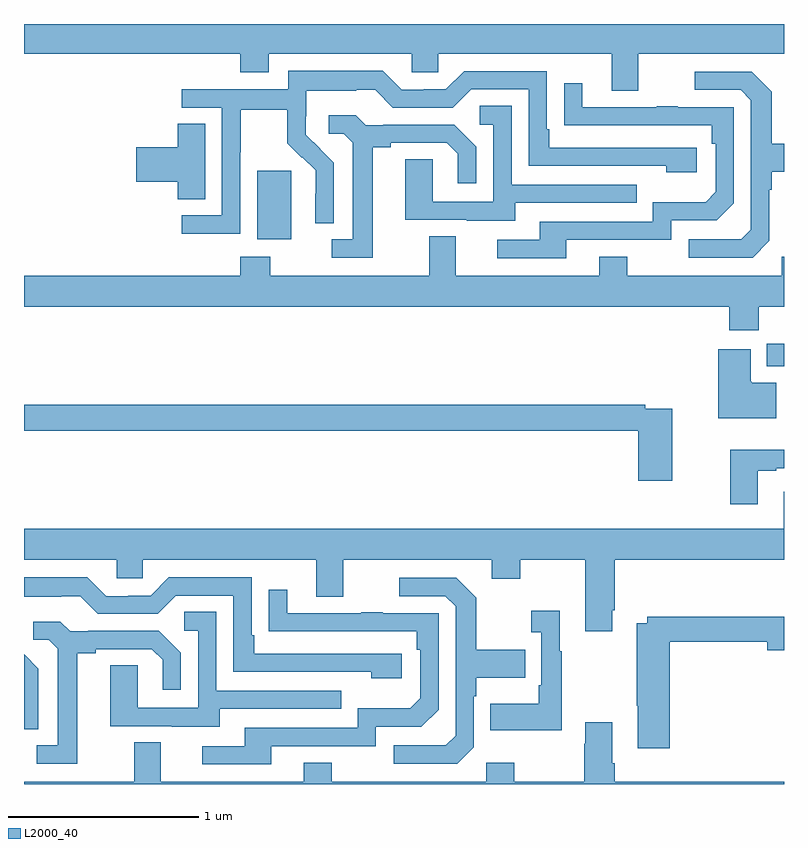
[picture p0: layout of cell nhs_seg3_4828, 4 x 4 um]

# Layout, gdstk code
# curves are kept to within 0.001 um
import gdstk
lib = gdstk.Library(unit=1e-6, precision=1e-09)
def R(c, l, rs):  # rectangles x0, y0, x1, y1
    for r in rs: c.add(gdstk.rectangle(r[:2], r[2:], *l))
def P(c, l, *ps):  # polygons
    for p in ps: c.add(gdstk.Polygon(p, *l))
L2000_40 = (2000, 40)

nhs_seg3_4828 = lib.new_cell('nhs_seg3_4828')
R(nhs_seg3_4828, L2000_40, [(374.909,704.6,375,704.718), (372.227,705.266,372.406,705.627)])
P(nhs_seg3_4828, L2000_40, [(371,706.244),(372.137,706.244),(372.137,706.145),(372.289,706.145),(372.289,706.244),(373.041,706.244),(373.041,706.146),(373.179,706.146),(373.179,706.244),(374.093,706.244),(374.093,706.05),(374.233,706.05),(374.233,706.244),(375,706.244),(375,706.4),(371,706.4)],
  [(372.138,705.724),(372.141,705.724),(372.141,705.948),(372.385,705.948),(372.385,705.773),(372.462,705.696),(372.465,705.699),(372.536,705.629),(372.536,705.506),(372.534,705.506),(372.534,705.352),(372.63,705.352),(372.63,705.67),(372.484,705.818),(372.484,705.915),(372.486,705.915),(372.486,706.049),(372.749,706.049),(372.749,706.053),(372.849,706.053),(372.942,705.96),(373.257,705.96),(373.353,706.056),(373.656,706.056),(373.656,705.654),(374.381,705.654),(374.381,705.62),(374.542,705.62),(374.542,705.75),(373.765,705.75),(373.765,705.847),(373.752,705.847),(373.752,706.152),(373.317,706.152),(373.221,706.056),(373.103,706.056),(373.103,706.053),(372.987,706.053),(372.887,706.153),(372.39,706.153),(372.39,706.056),(371.829,706.056),(371.829,705.96),(372.042,705.96),(372.042,705.393),(371.829,705.393),(371.829,705.295),(372.138,705.295)],
  [(374.922,705.258),(374.922,705.527),(374.935,705.527),(374.935,705.623),(375,705.623),(375,705.771),(374.935,705.771),(374.935,706.043),(374.829,706.149),(374.529,706.149),(374.529,706.053),(374.772,706.053),(374.826,705.999),(374.826,705.318),(374.775,705.267),(374.499,705.267),(374.499,705.171),(374.835,705.171)],
  [(373.855,705.264),(374.406,705.264),(374.406,705.366),(374.646,705.366),(374.736,705.456),(374.736,705.963),(374.441,705.963),(374.441,705.968),(374.329,705.968),(374.329,705.963),(373.939,705.963),(373.939,706.087),(373.843,706.087),(373.843,705.868),(374.62,705.867),(374.62,705.77),(374.64,705.77),(374.64,705.516),(374.587,705.463),(374.31,705.463),(374.31,705.36),(373.715,705.36),(373.715,705.264),(373.491,705.264),(373.491,705.168),(373.855,705.168)],
  [(373.585,705.459),(374.225,705.459),(374.225,705.555),(373.566,705.555),(373.566,705.971),(373.398,705.971),(373.398,705.87),(373.47,705.87),(373.47,705.465),(373.152,705.465),(373.152,705.689),(373.007,705.689),(373.007,705.369),(373.331,705.369),(373.331,705.365),(373.585,705.365)],
  [(372.835,705.752),(372.931,705.752),(372.931,705.774),(373.226,705.774),(373.283,705.717),(373.283,705.561),(373.38,705.561),(373.38,705.754),(373.264,705.87),(372.892,705.87),(372.892,705.867),(372.798,705.867),(372.746,705.919),(372.603,705.919),(372.603,705.822),(372.684,705.822),(372.731,705.775),(372.731,705.267),(372.621,705.267),(372.621,705.171),(372.835,705.171)],
  [(371.953,705.875),(371.81,705.875),(371.81,705.752),(371.592,705.752),(371.592,705.569),(371.81,705.569),(371.81,705.478),(371.953,705.478)],
  [(374.867,704.912),(375,704.912),(375,705.175),(374.988,705.175),(374.988,705.076),(374.175,705.076),(374.175,705.175),(374.027,705.175),(374.027,705.076),(373.273,705.076),(373.273,705.284),(373.133,705.284),(373.133,705.076),(372.297,705.076),(372.297,705.175),(372.137,705.175),(372.137,705.076),(371,705.076),(371,704.912),(374.711,704.912),(374.711,704.788),(374.867,704.788)],
  [(374.959,704.512),(374.83,704.512),(374.83,704.518),(374.824,704.518),(374.824,704.689),(374.654,704.689),(374.654,704.324),(374.959,704.324)],
  [(374.412,704.376),(374.27,704.376),(374.27,704.396),(371,704.396),(371,704.26),(374.234,704.26),(374.234,703.995),(374.412,703.995)],
  [(374.863,704.049),(374.959,704.049),(374.959,704.061),(375,704.061),(375,704.158),(374.716,704.158),(374.716,703.872),(374.863,703.872)],
  [(374.095,703.315),(374.108,703.315),(374.108,703.58),(375,703.58),(375,703.939),(374.999,703.939),(374.999,703.744),(371,703.744),(371,703.58),(371.487,703.58),(371.487,703.482),(371.625,703.482),(371.625,703.58),(372.539,703.58),(372.539,703.386),(372.679,703.386),(372.679,703.58),(373.463,703.58),(373.463,703.481),(373.611,703.481),(373.611,703.58),(373.955,703.58),(373.955,703.203),(374.095,703.203)],
  [(372.988,703.086),(372.211,703.086),(372.211,703.183),(372.198,703.183),(372.198,703.488),(371.763,703.488),(371.667,703.392),(371.549,703.392),(371.549,703.389),(371.433,703.389),(371.333,703.489),(371,703.489),(371,703.385),(371.195,703.385),(371.195,703.389),(371.295,703.389),(371.388,703.296),(371.703,703.296),(371.799,703.392),(372.102,703.392),(372.102,702.99),(372.827,702.99),(372.827,702.956),(372.988,702.956)],
  [(373.368,702.594),(373.368,702.863),(373.381,702.863),(373.381,702.959),(373.637,702.959),(373.637,703.107),(373.381,703.107),(373.381,703.379),(373.275,703.485),(372.975,703.485),(372.975,703.389),(373.218,703.389),(373.272,703.335),(373.272,702.654),(373.221,702.603),(372.945,702.603),(372.945,702.507),(373.281,702.507)],
  [(372.301,702.6),(372.852,702.6),(372.852,702.702),(373.092,702.702),(373.182,702.792),(373.182,703.299),(372.887,703.299),(372.887,703.304),(372.775,703.304),(372.775,703.299),(372.385,703.299),(372.385,703.423),(372.289,703.423),(372.289,703.204),(373.066,703.203),(373.066,703.106),(373.086,703.106),(373.086,702.852),(373.033,702.799),(372.756,702.799),(372.756,702.696),(372.161,702.696),(372.161,702.6),(371.937,702.6),(371.937,702.504),(372.301,702.504)],
  [(373.831,703.099),(373.819,703.099),(373.819,703.312),(373.671,703.312),(373.671,703.199),(373.722,703.199),(373.722,702.919),(373.71,702.919),(373.71,702.823),(373.453,702.823),(373.453,702.683),(373.831,702.683)],
  [(372.031,702.795),(372.671,702.795),(372.671,702.891),(372.012,702.891),(372.012,703.307),(371.844,703.307),(371.844,703.206),(371.916,703.206),(371.916,702.801),(371.598,702.801),(371.598,703.025),(371.453,703.025),(371.453,702.705),(371.777,702.705),(371.777,702.701),(372.031,702.701)],
  [(374.399,703.15),(374.912,703.15),(374.912,703.103),(375,703.103),(375,703.279),(374.28,703.279),(374.28,703.246),(374.224,703.246),(374.224,702.811),(374.231,702.811),(374.231,702.588),(374.399,702.588)],
  [(371.281,703.088),(371.377,703.088),(371.377,703.11),(371.672,703.11),(371.729,703.053),(371.729,702.897),(371.826,702.897),(371.826,703.09),(371.71,703.206),(371.338,703.206),(371.338,703.203),(371.244,703.203),(371.192,703.255),(371.049,703.255),(371.049,703.158),(371.13,703.158),(371.177,703.111),(371.177,702.603),(371.067,702.603),(371.067,702.507),(371.281,702.507)],
  [(371.076,703.006),(371.003,703.079),(371.004,703.08),(371,703.084),(371,702.688),(371.076,702.688)],
  [(375,702.412),(374.108,702.412),(374.108,702.508),(374.095,702.508),(374.095,702.724),(373.955,702.724),(373.955,702.611),(373.948,702.611),(373.948,702.412),(373.581,702.412),(373.581,702.511),(373.434,702.511),(373.434,702.412),(372.621,702.412),(372.621,702.511),(372.473,702.511),(372.473,702.412),(371.719,702.412),(371.719,702.62),(371.579,702.62),(371.579,702.412),(371,702.412),(371,702.4),(375,702.4)])

lib.write_gds('nhs_seg3_4828.gds')
